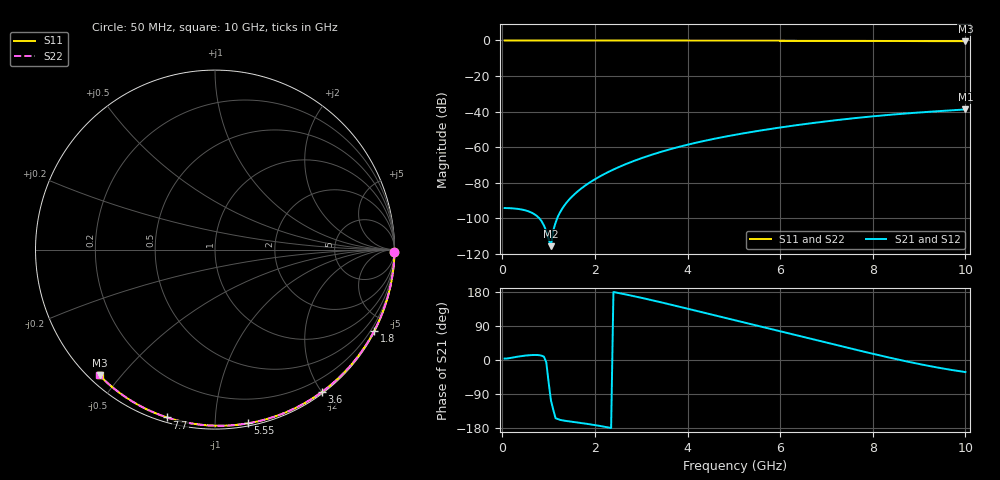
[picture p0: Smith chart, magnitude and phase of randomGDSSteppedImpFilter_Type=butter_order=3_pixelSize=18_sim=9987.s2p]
! freq	dB(S11)	phase(S11)	dB(S12)	phase(S12)
!  dB(S21)	phase(S21)	dB(S22)	phase(S22)
!S-par simulation data
#  GHz  S  DB  R 50
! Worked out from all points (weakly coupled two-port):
!   200 points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, 50 MHz to 10 GHz, reference 50 ohm
!   highest |S21| = -38.79 dB at 10 GHz (marker M1); lowest = -115.7 dB at 1.05 GHz (marker M2)
!   lowest |S11| = -0.4 dB at 10 GHz (marker M3), VSWR 40.13, Z = 1.49 - j22 ohm
!   |S11| at or under -10 dB: nowhere
!   |S22| runs from -0.4 to 0.0 dB; largest |S21 - S12| = 0
!   S11 on the Smith chart (normalised r, x): 50 MHz: open; 1.8 GHz: 0.04, -4.14; 3.6 GHz: 0.02, -2.00; 5.55 GHz: 0.02, -1.21; 7.7 GHz: 0.02, -0.75; 10 GHz: 0.03, -0.44
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0.05  -0.00 -0.8  -94.23 3.7  -94.23 3.7  -0.00 -0.8
0.55  -0.01 -8.4  -95.96 12.3  -95.96 12.3  -0.01 -8.4
1.05  -0.02 -16.0  -115.69 -106.3  -115.69 -106.3  -0.02 -16.0
1.75  -0.03 -26.4  -82.36 -167.1  -82.36 -167.1  -0.03 -26.4
1.8  -0.03 -27.2  -81.42 -168.0  -81.42 -168.0  -0.03 -27.2
1.85  -0.04 -27.9  -80.53 -168.9  -80.53 -168.9  -0.04 -27.9
1.9  -0.04 -28.6  -79.67 -169.9  -79.67 -169.9  -0.04 -28.7
2.05  -0.04 -30.9  -77.29 -172.8  -77.29 -172.8  -0.04 -30.9
2.25  -0.04 -33.8  -74.48 -177.1  -74.48 -177.1  -0.04 -33.8
2.65  -0.05 -39.6  -69.73 173.4  -69.73 173.4  -0.05 -39.6
3  -0.06 -44.6  -66.26 164.2  -66.26 164.2  -0.06 -44.7
3.4  -0.07 -50.3  -62.86 153.0  -62.86 153.0  -0.07 -50.3
3.6  -0.07 -53.1  -61.35 147.2  -61.35 147.2  -0.07 -53.2
4.3  -0.09 -62.8  -56.82 126.4  -56.82 126.4  -0.09 -62.8
5.05  -0.11 -72.8  -52.94 103.9  -52.94 103.9  -0.11 -72.9
5.55  -0.13 -79.3  -50.74 89.0  -50.74 89.0  -0.13 -79.4
6.1  -0.15 -86.3  -48.57 72.6  -48.57 72.6  -0.15 -86.4
6.7  -0.18 -93.8  -46.45 54.8  -46.45 54.8  -0.18 -93.9
7.7  -0.24 -105.9  -43.44 25.1  -43.44 25.1  -0.24 -106.0
8.35  -0.29 -113.6  -41.84 6.5  -41.84 6.5  -0.29 -113.7
9.15  -0.36 -122.8  -40.24 -14.2  -40.24 -14.2  -0.36 -122.9
10  -0.43 -132.5  -38.79 -31.8  -38.79 -31.8  -0.43 -132.6
